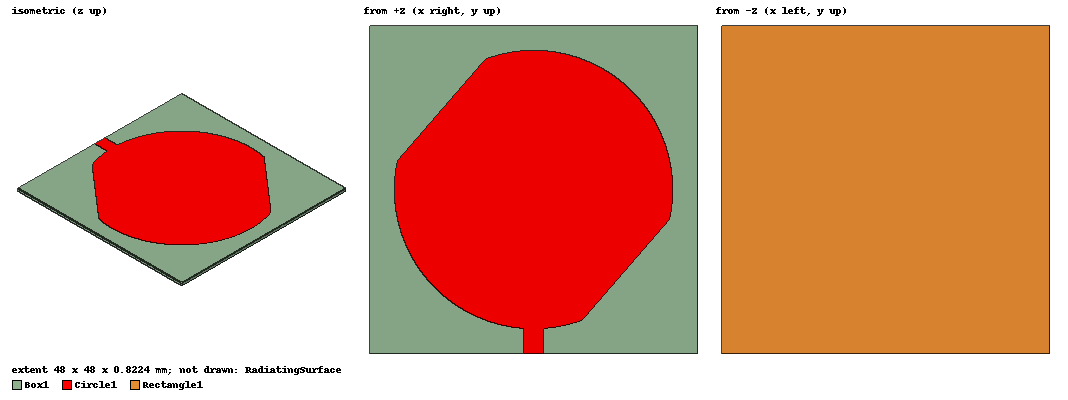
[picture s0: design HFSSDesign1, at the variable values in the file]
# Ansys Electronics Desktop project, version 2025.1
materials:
  vacuum: permittivity=1
  Isola FR408HR: permittivity=3.68 dielectric_loss_tangent=0.0092
  copper: permeability=0.999991 conductivity=58000000

design HFSSDesign1 (HFSS, HFSS Terminal Network, model units mm)
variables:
  h = 0.7874mm
  SL = 48mm
  a = 19.51994mm
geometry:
  Box1 [Isola FR408HR] = box(corner=(-SL/2, -SL/2, 0mm), size=(SL, SL, h))
  Rectangle1 = rectangle(corner=(-SL/2, -SL/2, 0mm), x_size=SL, y_size=SL)
  Circle1 [copper] = circle(normal=Z, centre=(0mm, 0mm, h), radius=a*1.0434)
  Circle1.thicken(0.035mm)
  Polyline1 = polyline(z=h, xy in mm: (-20, 4) (-7, 19) (-19, 18) (-20, 4), closed, covered)
  Polyline1.thicken(0.035mm)
  Polyline1.move(0mm, 0.2mm, 0)
  Polyline2 = polyline(z=h, xy in mm: (20, -4) (7, -19) (19, -18) (20, -4), closed, covered)
  Polyline2.thicken(0.035mm)
  Polyline2.move(0mm, -0.2mm, 0)
  Circle1.subtract(Polyline1, Polyline2)
  Rectangle3 = rectangle(corner=(-1.5mm, -24mm, 0.7874mm), z_size=-0.7874mm, x_size=3mm)
  Box2 = box(corner=(-1.5mm, -24mm, h), size=(3mm, 5.5mm, 0.035mm))
  Circle1.unite(Box2)
  RadiatingSurface [vacuum] = region(absolute_offset=43.383948mm on all sides)
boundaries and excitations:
  PerfE1: Perfect E Objects=Rectangle1
  Open1: Radiation Objects=RadiatingSurface
  1: Lumped Port Objects=Rectangle3 LumpedPortType=Modal Modes{Mode1{IntLine{(0, -24, 0) -> (0, -24, 0.7874)} CharImp=Zpi}} Impedance=50ohm
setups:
  Setup1: HfssDriven Frequency=2.305GHz MaxDeltaS=0.02 MaximumPasses=6 MinimumPasses=1 MinimumConvergedPasses=1 PercentRefinement=30 BasisOrder=1 PortAccuracy=2 DrivenSolverType="Direct Solver"
    sweep Sweep: 1.1525GHz to 3.4575GHz, 401 points; Type=Interpolating InterpTolerance=0.5 InterpMaxSolns=250 PassivityErrorTolerance=0.0001
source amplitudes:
  1:1: 1V 0deg
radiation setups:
  3D: Infinite Sphere Theta=0deg..180deg step 2deg Phi=-180deg..180deg step 2deg
  Elevation: Infinite Sphere Theta=-180deg..180deg step 1deg Phi=0deg..90deg step 90deg
  Azimuth: Infinite Sphere Theta=90deg..90deg step 0deg Phi=-180deg..180deg step 1deg
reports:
  S Parameter Plot1: dB(S(1,1)) vs Freq on Setup1 : Sweep
  Gain Plot1: GainTotal vs Phi, Theta on Setup1 : LastAdaptive, 3D [Freq=2.305GHz]
